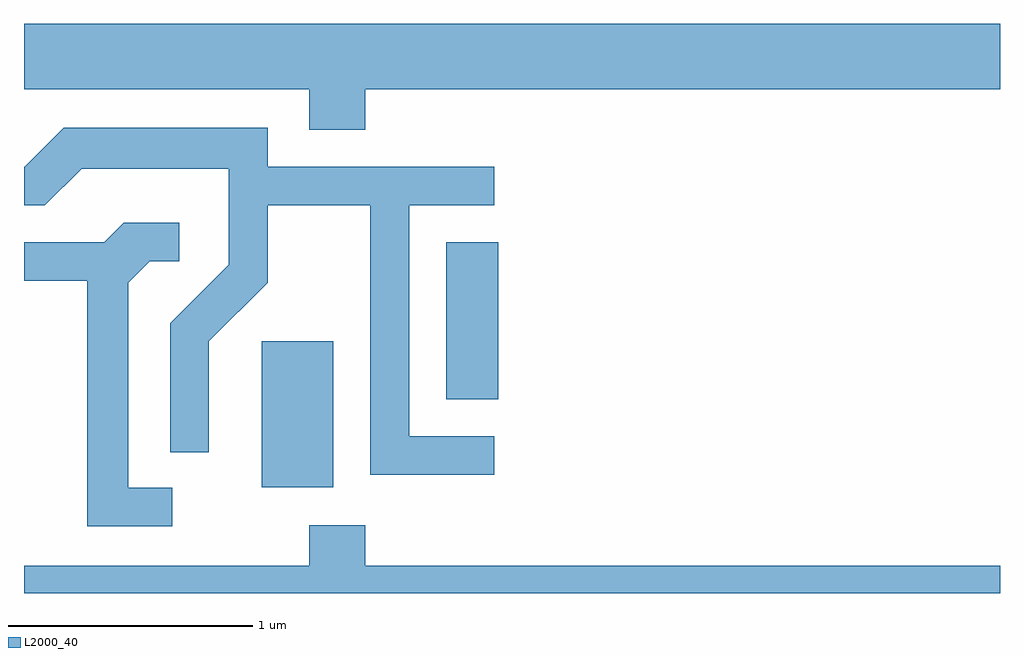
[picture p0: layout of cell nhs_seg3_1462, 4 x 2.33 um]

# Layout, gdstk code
import gdstk
lib = gdstk.Library(unit=1e-6, precision=1e-09)
def R(c, l, rs):  # rectangles x0, y0, x1, y1
    for r in rs: c.add(gdstk.rectangle(r[:2], r[2:], *l))
def P(c, l, *ps):  # polygons
    for p in ps: c.add(gdstk.Polygon(p, *l))
L2000_40 = (2000, 40)

nhs_seg3_1462 = lib.new_cell('nhs_seg3_1462')
R(nhs_seg3_1462, L2000_40, [(228.586,1184.326,228.879,1184.924), (229.341,1184.686,229.554,1185.329)])
P(nhs_seg3_1462, L2000_40, [(229.009,1185.956),(231.611,1185.956),(231.611,1186.224),(227.611,1186.224),(227.611,1185.956),(228.781,1185.956),(228.781,1185.791),(229.009,1185.791)],
  [(229.538,1184.534),(229.189,1184.534),(229.189,1185.481),(229.538,1185.481),(229.538,1185.639),(228.609,1185.639),(228.609,1185.799),(227.774,1185.799),(227.614,1185.639),(227.611,1185.639),(227.611,1185.481),(227.697,1185.481),(227.847,1185.631),(228.451,1185.631),(228.451,1185.237),(228.211,1184.997),(228.211,1184.468),(228.369,1184.468),(228.369,1184.924),(228.609,1185.164),(228.609,1185.481),(229.031,1185.481),(229.031,1184.376),(229.538,1184.376)],
  [(228.218,1184.324),(228.039,1184.324),(228.039,1185.164),(228.127,1185.251),(228.248,1185.251),(228.248,1185.409),(228.019,1185.409),(227.939,1185.329),(227.611,1185.329),(227.611,1185.171),(227.871,1185.171),(227.871,1184.166),(228.218,1184.166)],
  [(231.611,1184.004),(229.009,1184.004),(229.009,1184.169),(228.781,1184.169),(228.781,1184.004),(227.611,1184.004),(227.611,1183.892),(231.611,1183.892)])

lib.write_gds('nhs_seg3_1462.gds')
